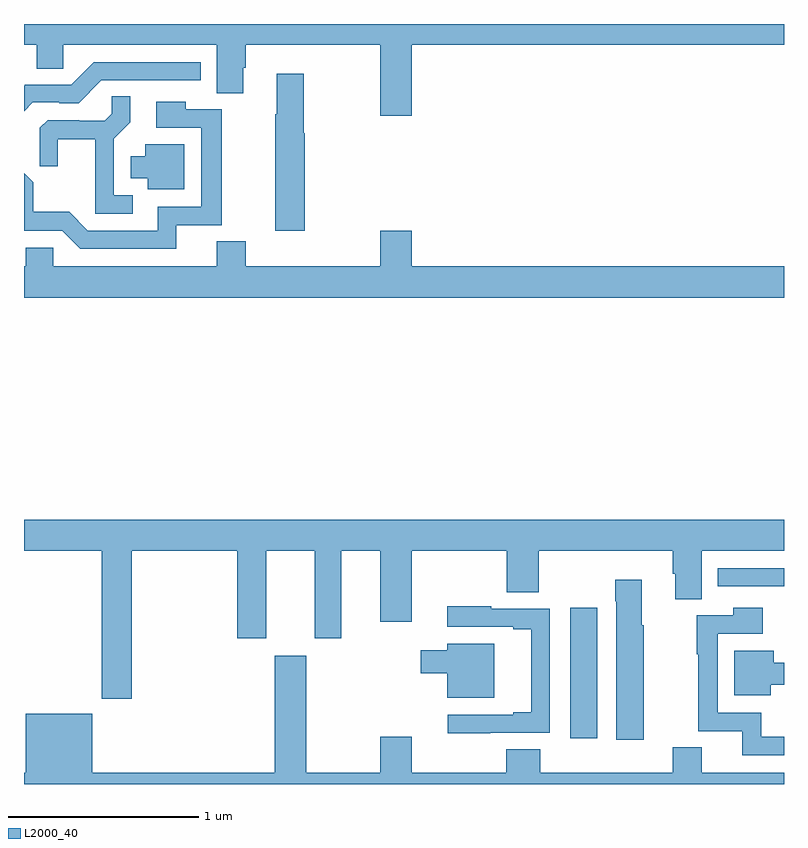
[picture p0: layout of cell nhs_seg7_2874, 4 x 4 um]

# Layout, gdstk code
import gdstk
lib = gdstk.Library(unit=1e-6, precision=1e-09)
def R(c, l, rs):  # rectangles x0, y0, x1, y1
    for r in rs: c.add(gdstk.rectangle(r[:2], r[2:], *l))
def P(c, l, *ps):  # polygons
    for p in ps: c.add(gdstk.Polygon(p, *l))
L2000_40 = (2000, 40)

nhs_seg7_2874 = lib.new_cell('nhs_seg7_2874')
R(nhs_seg7_2874, L2000_40, [(297.875,1054.242,298.018,1054.927), (298.652,1055.04,299,1055.136)])
P(nhs_seg7_2874, L2000_40, [(297.04,1057.892),(299,1057.892),(299,1058),(295,1058),(295,1057.892),(295.067,1057.892),(295.067,1057.765),(295.206,1057.765),(295.206,1057.892),(296.015,1057.892),(296.015,1057.636),(296.155,1057.636),(296.155,1057.77),(296.168,1057.77),(296.168,1057.892),(296.876,1057.892),(296.876,1057.518),(297.04,1057.518)],
  [(295.047,1057.587),(295.186,1057.587),(295.186,1057.584),(295.287,1057.584),(295.407,1057.704),(295.93,1057.704),(295.93,1057.8),(295.368,1057.8),(295.248,1057.68),(295.005,1057.68),(295,1057.675),(295,1057.54)],
  [(296.477,1057.425),(296.472,1057.425),(296.472,1057.738),(296.33,1057.738),(296.33,1057.525),(296.323,1057.525),(296.323,1056.912),(296.477,1056.912)],
  [(295.573,1057.098),(295.473,1057.098),(295.473,1057.397),(295.559,1057.483),(295.559,1057.619),(295.461,1057.619),(295.461,1057.528),(295.424,1057.491),(295.29,1057.491),(295.29,1057.494),(295.125,1057.494),(295.084,1057.453),(295.084,1057.251),(295.178,1057.251),(295.178,1057.394),(295.376,1057.394),(295.376,1057.002),(295.573,1057.002)],
  [(295.802,1056.942),(296.041,1056.942),(296.041,1057.551),(295.851,1057.551),(295.851,1057.591),(295.695,1057.591),(295.695,1057.455),(295.932,1057.455),(295.932,1057.038),(295.703,1057.038),(295.703,1056.912),(295.335,1056.912),(295.237,1057.011),(295.048,1057.011),(295.048,1057.166),(295,1057.214),(295,1056.912),(295.2,1056.912),(295.296,1056.816),(295.802,1056.816)],
  [(295.843,1057.366),(295.637,1057.366),(295.637,1057.303),(295.562,1057.303),(295.562,1057.187),(295.652,1057.187),(295.652,1057.13),(295.843,1057.13)],
  [(299,1056.724),(297.04,1056.724),(297.04,1056.913),(296.876,1056.913),(296.876,1056.724),(296.168,1056.724),(296.168,1056.857),(296.015,1056.857),(296.015,1056.724),(295.155,1056.724),(295.155,1056.822),(295.009,1056.822),(295.009,1056.724),(295,1056.724),(295,1056.56),(299,1056.56)],
  [(295.568,1055.228),(296.123,1055.228),(296.123,1054.767),(296.275,1054.767),(296.275,1055.228),(296.531,1055.228),(296.531,1054.767),(296.671,1054.767),(296.671,1055.228),(296.876,1055.228),(296.876,1054.854),(297.04,1054.854),(297.04,1055.228),(297.542,1055.228),(297.542,1055.008),(297.708,1055.008),(297.708,1055.228),(298.415,1055.228),(298.415,1055.106),(298.427,1055.106),(298.427,1054.972),(298.567,1054.972),(298.567,1055.228),(299,1055.228),(299,1055.392),(295,1055.392),(295,1055.228),(295.408,1055.228),(295.408,1054.449),(295.568,1054.449)],
  [(298.261,1054.835),(298.252,1054.835),(298.252,1055.074),(298.111,1055.074),(298.111,1054.961),(298.118,1054.961),(298.118,1054.232),(298.261,1054.232)],
  [(297.455,1054.269),(297.768,1054.269),(297.768,1054.923),(297.458,1054.923),(297.458,1054.936),(297.228,1054.936),(297.228,1054.827),(297.575,1054.827),(297.575,1054.815),(297.671,1054.815),(297.671,1054.378),(297.575,1054.378),(297.575,1054.365),(297.231,1054.365),(297.231,1054.268),(297.455,1054.268)],
  [(299,1054.248),(298.879,1054.248),(298.879,1054.374),(298.65,1054.374),(298.65,1054.791),(298.888,1054.791),(298.888,1054.927),(298.732,1054.927),(298.732,1054.887),(298.542,1054.887),(298.542,1054.684),(298.549,1054.684),(298.549,1054.278),(298.781,1054.278),(298.781,1054.152),(299,1054.152)],
  [(297.475,1054.738),(297.227,1054.738),(297.227,1054.705),(297.087,1054.705),(297.087,1054.583),(297.227,1054.583),(297.227,1054.454),(297.475,1054.454)],
  [(298.93,1054.523),(299,1054.523),(299,1054.639),(298.945,1054.639),(298.945,1054.702),(298.739,1054.702),(298.739,1054.466),(298.93,1054.466)],
  [(297.04,1054.249),(296.876,1054.249),(296.876,1054.06),(296.485,1054.06),(296.485,1054.675),(296.321,1054.675),(296.321,1054.06),(295.36,1054.06),(295.36,1054.369),(295.01,1054.369),(295.01,1054.06),(295,1054.06),(295,1054),(299,1054),(299,1054.06),(298.567,1054.06),(298.567,1054.193),(298.415,1054.193),(298.415,1054.06),(297.716,1054.06),(297.716,1054.184),(297.539,1054.184),(297.539,1054.06),(297.04,1054.06)])

lib.write_gds('nhs_seg7_2874.gds')
